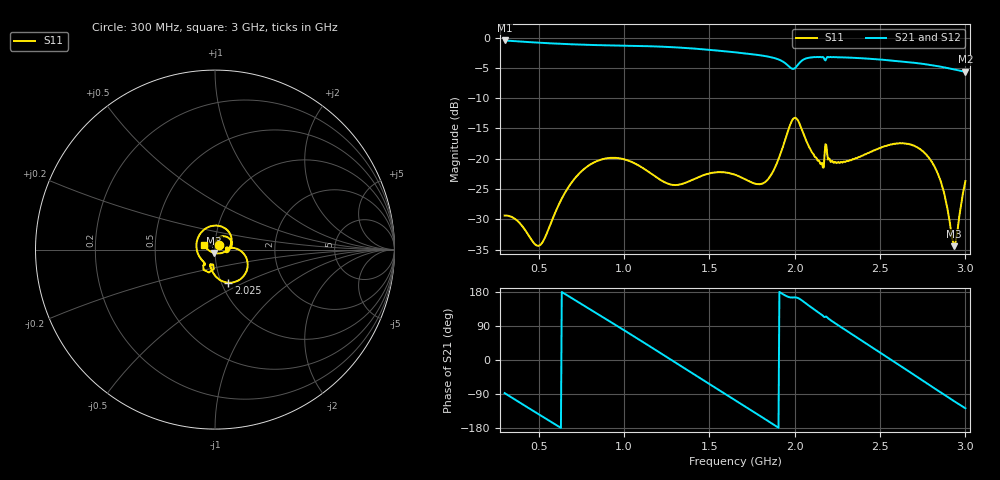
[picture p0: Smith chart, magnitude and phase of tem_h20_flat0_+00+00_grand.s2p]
! tem_h20_flat0_+00+00_grand
! simulated by sim/fixtures_fdtd.py (S12 = S21, S22 not computed)
# HZ S RI R 50
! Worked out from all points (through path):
!   541 points, 300 MHz to 3 GHz, reference 50 ohm
!   highest |S21| = -0.48 dB at 300 MHz (marker M1); lowest = -5.7 dB at 3 GHz (marker M2)
!   group delay of S21, straight-line fit = 777 ps
!   lowest |S11| = -34.4 dB at 2.935 GHz (marker M3), VSWR 1.04, Z = 49.5 - j1.81 ohm
!   |S11| at or under -10 dB: start of sweep to end of sweep
!   |S22| runs from - to - dB; largest |S21 - S12| = 0
!   S11 on the Smith chart (normalised r, x): 300 MHz: 1.05, +0.05; 2.025 GHz: 1.08, -0.41; 3 GHz: 0.88, +0.04
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3e8  0.0231 0.0249  0.0432 -0.9457  0.0432 -0.9457  0 0
4.1e8  0.023 0.0142  -0.4374 -0.8136  -0.4374 -0.8136  0 0
5.4e8  0.00531 0.0223  -0.812 -0.3901  -0.812 -0.3901  0 0
6.45e8  0.00534 0.0495  -0.8845 0.051  -0.8845 0.051  0 0
7.5e8  0.0311 0.0723  -0.7396 0.4661  -0.7396 0.4661  0 0
8.65e8  0.0711 0.068  -0.3801 0.7767  -0.3801 0.7767  0 0
9.75e8  0.0929 0.039  0.0666 0.8558  0.0666 0.8558  0 0
1.2e9  0.0687 -0.000101  0.7814 0.3175  0.7814 0.3175  0 0
1.32e9  0.0604 0.0083  0.809 -0.174  0.809 -0.174  0 0
1.455e9  0.0715 0.0107  0.5085 -0.6201  0.5085 -0.6201  0 0
1.65e9  0.0727 -0.0126  -0.2068 -0.7271  -0.2068 -0.7271  0 0
1.83e9  0.0648 -0.00105  -0.647 -0.2732  -0.647 -0.2732  0 0
1.985e9  0.1809 -0.102  -0.5339 0.1444  -0.5339 0.1444  0 0
2.025e9  0.0745 -0.1848  -0.5827 0.1859  -0.5827 0.1859  0 0
2.1e9  -0.0185 -0.1118  -0.5094 0.4617  -0.5094 0.4617  0 0
2.305e9  -0.0883 -0.0376  0.1551 0.666  0.1551 0.666  0 0
2.44e9  -0.0989 0.055  0.532 0.4036  0.532 0.4036  0 0
2.55e9  -0.0439 0.1219  0.6477 0.0551  0.6477 0.0551  0 0
2.795e9  0.0907 0.0363  0.2254 -0.5499  0.2254 -0.5499  0 0
2.865e9  0.0578 -0.00994  0.0147 -0.5713  0.0147 -0.5713  0 0
2.935e9  -0.0051 -0.0183  -0.1773 -0.5156  -0.1773 -0.5156  0 0
3e9  -0.0606 0.0246  -0.3169 -0.4144  -0.3169 -0.4144  0 0
